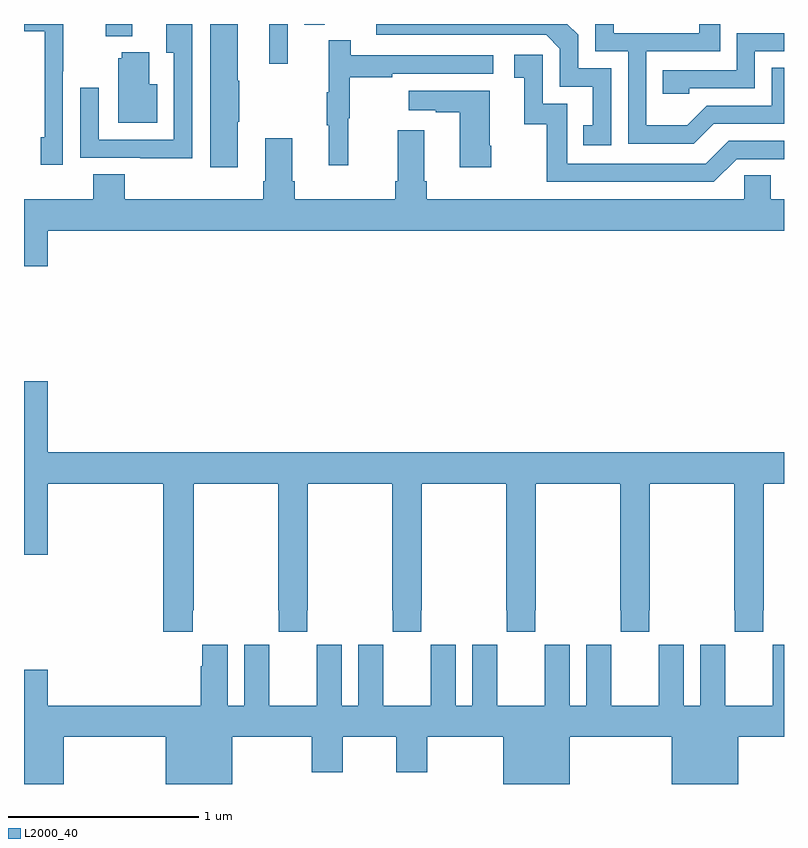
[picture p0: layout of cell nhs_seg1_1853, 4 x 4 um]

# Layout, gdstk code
import gdstk
lib = gdstk.Library(unit=1e-6, precision=1e-09)
def R(c, l, rs):  # rectangles x0, y0, x1, y1
    for r in rs: c.add(gdstk.rectangle(r[:2], r[2:], *l))
def P(c, l, *ps):  # polygons
    for p in ps: c.add(gdstk.Polygon(p, *l))
L2000_40 = (2000, 40)

nhs_seg1_1853 = lib.new_cell('nhs_seg1_1853')
R(nhs_seg1_1853, L2000_40, [(214.292,505.989,214.389,506.199), (213.431,506.135,213.571,506.199), (214.474,506.194,214.582,506.199)])
P(nhs_seg1_1853, L2000_40, [(216.631,505.674),(217,505.674),(217,505.969),(216.936,505.969),(216.936,505.77),(216.594,505.77),(216.49,505.666),(216.276,505.666),(216.276,506.055),(216.665,506.055),(216.665,506.199),(216.554,506.199),(216.554,506.151),(216.103,506.151),(216.103,506.199),(216.006,506.199),(216.006,506.055),(216.18,506.055),(216.18,505.569),(216.526,505.569)],
  [(213.885,506.199),(213.749,506.199),(213.749,506.047),(213.789,506.047),(213.789,505.59),(213.393,505.59),(213.393,505.864),(213.297,505.864),(213.297,505.494),(213.613,505.494),(213.613,505.493),(213.885,505.493)],
  [(213.204,505.951),(213.207,505.951),(213.207,506.199),(213,506.199),(213,506.16),(213.108,506.16),(213.108,505.602),(213.089,505.602),(213.089,505.458),(213.204,505.458)],
  [(214.126,505.684),(214.134,505.684),(214.134,505.901),(214.126,505.901),(214.126,506.199),(213.98,506.199),(213.98,505.446),(214.126,505.446)],
  [(216.09,505.965),(215.916,505.965),(215.916,506.142),(215.859,506.199),(214.854,506.199),(214.854,506.142),(215.748,506.142),(215.82,506.07),(215.82,505.869),(215.993,505.869),(215.993,505.665),(215.944,505.665),(215.944,505.56),(216.09,505.56)],
  [(216.501,505.86),(216.846,505.86),(216.846,506.055),(217,506.055),(217,506.151),(216.75,506.151),(216.75,505.956),(216.361,505.956),(216.361,505.833),(216.501,505.833)],
  [(214.706,505.704),(214.714,505.704),(214.714,505.918),(214.937,505.918),(214.937,505.938),(215.47,505.938),(215.47,506.034),(214.721,506.034),(214.721,506.113),(214.604,506.113),(214.604,505.841),(214.593,505.841),(214.593,505.667),(214.604,505.667),(214.604,505.455),(214.706,505.455)],
  [(213.7,505.882),(213.658,505.882),(213.658,506.05),(213.515,506.05),(213.515,506.019),(213.497,506.019),(213.497,505.679),(213.7,505.679)],
  [(216.75,505.488),(217,505.488),(217,505.584),(216.708,505.584),(216.588,505.464),(215.859,505.464),(215.859,505.779),(215.73,505.779),(215.73,506.038),(215.58,506.038),(215.58,505.917),(215.633,505.917),(215.633,505.671),(215.751,505.671),(215.751,505.368),(216.63,505.368)],
  [(215.46,505.558),(215.452,505.558),(215.452,505.849),(215.025,505.849),(215.025,505.745),(215.168,505.745),(215.168,505.735),(215.294,505.735),(215.294,505.446),(215.46,505.446)],
  [(213.124,505.112),(217,505.112),(217,505.276),(216.931,505.276),(216.931,505.403),(216.792,505.403),(216.792,505.276),(215.12,505.276),(215.12,505.372),(215.107,505.372),(215.107,505.639),(214.967,505.639),(214.967,505.372),(214.955,505.372),(214.955,505.276),(214.424,505.276),(214.424,505.372),(214.411,505.372),(214.411,505.597),(214.271,505.597),(214.271,505.372),(214.259,505.372),(214.259,505.276),(213.53,505.276),(213.53,505.409),(213.365,505.409),(213.365,505.276),(213,505.276),(213,504.924),(213.124,504.924)],
  [(213.887,503.113),(213.894,503.113),(213.894,503.78),(214.339,503.78),(214.339,503.113),(214.341,503.113),(214.341,503.001),(214.491,503.001),(214.491,503.113),(214.494,503.113),(214.494,503.78),(214.939,503.78),(214.939,503.113),(214.941,503.113),(214.941,503.001),(215.091,503.001),(215.091,503.113),(215.094,503.113),(215.094,503.78),(215.539,503.78),(215.539,503.113),(215.541,503.113),(215.541,503.001),(215.691,503.001),(215.691,503.113),(215.694,503.113),(215.694,503.78),(216.139,503.78),(216.139,503.113),(216.141,503.113),(216.141,503.001),(216.291,503.001),(216.291,503.113),(216.294,503.113),(216.294,503.78),(216.739,503.78),(216.739,503.113),(216.741,503.113),(216.741,503.001),(216.891,503.001),(216.891,503.113),(216.894,503.113),(216.894,503.78),(217,503.78),(217,503.944),(213.124,503.944),(213.124,504.319),(213,504.319),(213,503.406),(213.124,503.406),(213.124,503.78),(213.734,503.78),(213.734,503.001),(213.887,503.001)],
  [(213.208,502.448),(213.746,502.448),(213.746,502.199),(214.096,502.199),(214.096,502.448),(214.514,502.448),(214.514,502.26),(214.678,502.26),(214.678,502.448),(214.958,502.448),(214.958,502.26),(215.122,502.26),(215.122,502.448),(215.522,502.448),(215.522,502.199),(215.872,502.199),(215.872,502.448),(216.41,502.448),(216.41,502.199),(216.76,502.199),(216.76,502.448),(217,502.448),(217,502.933),(216.942,502.933),(216.942,502.82),(216.941,502.82),(216.941,502.612),(216.691,502.612),(216.691,502.82),(216.69,502.82),(216.69,502.933),(216.56,502.933),(216.56,502.612),(216.472,502.612),(216.472,502.933),(216.342,502.933),(216.342,502.82),(216.341,502.82),(216.341,502.612),(216.091,502.612),(216.091,502.82),(216.09,502.82),(216.09,502.933),(215.96,502.933),(215.96,502.612),(215.872,502.612),(215.872,502.933),(215.742,502.933),(215.742,502.82),(215.741,502.82),(215.741,502.612),(215.491,502.612),(215.491,502.82),(215.49,502.82),(215.49,502.933),(215.36,502.933),(215.36,502.612),(215.272,502.612),(215.272,502.933),(215.142,502.933),(215.142,502.82),(215.141,502.82),(215.141,502.612),(214.891,502.612),(214.891,502.82),(214.89,502.82),(214.89,502.933),(214.76,502.933),(214.76,502.612),(214.672,502.612),(214.672,502.933),(214.542,502.933),(214.542,502.82),(214.541,502.82),(214.541,502.612),(214.291,502.612),(214.291,502.82),(214.29,502.82),(214.29,502.933),(214.16,502.933),(214.16,502.612),(214.072,502.612),(214.072,502.933),(213.938,502.933),(213.938,502.82),(213.929,502.82),(213.929,502.612),(213.124,502.612),(213.124,502.801),(213,502.801),(213,502.199),(213.208,502.199)])

lib.write_gds('nhs_seg1_1853.gds')
